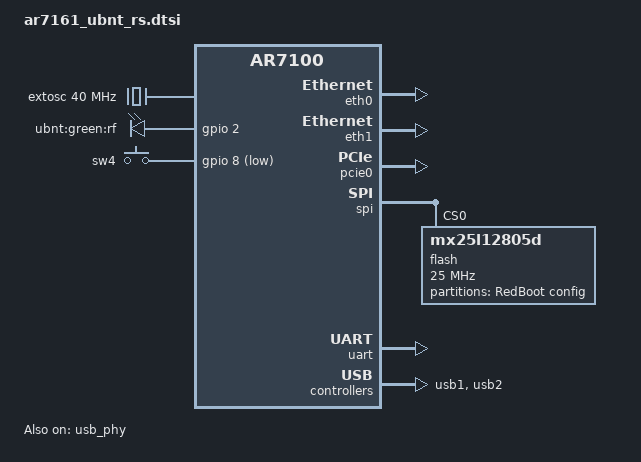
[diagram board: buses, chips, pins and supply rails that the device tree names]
// SPDX-License-Identifier: GPL-2.0-or-later OR MIT
/dts-v1/;

#include <dt-bindings/gpio/gpio.h>
#include <dt-bindings/input/input.h>

#include "ar7100.dtsi"

/ {
	chosen {
		bootargs = "console=ttyS0,115200";
	};

	aliases {
		led-status = &rf;
	};

	extosc: ref {
		compatible = "fixed-clock";
		#clock-cells = <0>;
		clock-output-names = "ref";
		clock-frequency = <40000000>;
	};

	gpio-leds {
		compatible = "gpio-leds";

		rf: rf_green {
			label = "ubnt:green:rf";
			gpios = <&gpio 2 GPIO_ACTIVE_HIGH>;
			default-state = "off";
		};
	};

	gpio-keys-polled {
		compatible = "gpio-keys-polled";
		#address-cells = <1>;
		#size-cells = <0>;
		poll-interval = <20>;
		debounce-interval = <60>;

		wps {
			label = "sw4";
			linux,code = <KEY_RESTART>;
			gpios = <&gpio 8 GPIO_ACTIVE_LOW>;
		};
	};
};

&eth0 {
	status = "okay";

	mtd-mac-address = <&rbc 0x17>;
};

&eth1 {
	status = "okay";

	mtd-mac-address = <&rbc 0x17>;
	mtd-mac-address-increment = <1>;
};

&pcie0 {
	status = "okay";
};

&spi {
	status = "okay";
	num-cs = <1>;

	flash@0 {
		#address-cells = <1>;
		#size-cells = <1>;
		compatible = "mx25l12805d";
		reg = <0>;
		spi-max-frequency = <25000000>;

		partitions {
			compatible = "ecoscentric,redboot-fis-partitions";
		};

		rbc: partition@fff000 {
			label = "RedBoot config";
			reg = <0x0fff000 0x0001000>;
			read-only;
		};
	};
};

&uart {
	status = "okay";
};

&usb_phy {
	status = "okay";
};

&usb1 {
	status = "okay";

	usb_ochi_port: port@1 {
		reg = <1>;
		#trigger-source-cells = <0>;
	};
};

&usb2 {
	status = "okay";

	usb_echi_port: port@1 {
		reg = <1>;
		#trigger-source-cells = <0>;
	};
};
